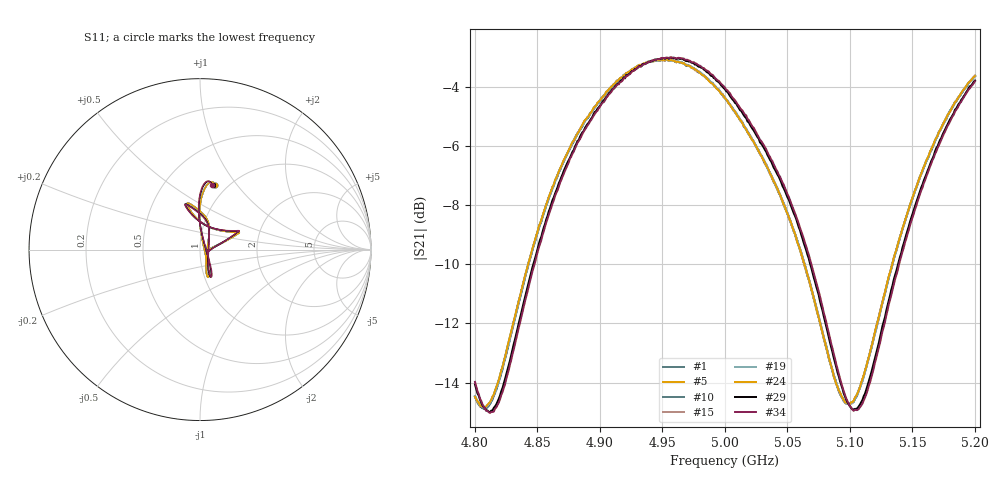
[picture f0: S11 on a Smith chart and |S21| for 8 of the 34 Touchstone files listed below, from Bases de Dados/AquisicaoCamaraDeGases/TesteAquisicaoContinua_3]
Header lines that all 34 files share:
! Network Analyzer HP8722D
! Hewlett-Packard
! Data name: Linha & Wilkinson
! Saver's name: Rodrigo Anjos
! Comments: Teste da utilização de aquisição
! continua pelo VNA HP8722D
!  Frequency  S11  S21  S12  S22
# HZ  S  MA R 50
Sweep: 4.8 GHz to 5.2 GHz
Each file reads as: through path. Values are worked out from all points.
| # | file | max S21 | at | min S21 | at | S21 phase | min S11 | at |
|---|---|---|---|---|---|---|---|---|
| 1 | teste_arseco&borbulhador_90Acetona_6.S2P | -3.07 dB | 4.953 GHz | -14.9 dB | 4.807 GHz | -92 deg at 5 GHz | -31.8 dB | 4.876 GHz |
| 2 | teste_arseco&borbulhador_90Acetona_7.S2P | -3.07 dB | 4.957 GHz | -14.9 dB | 4.808 GHz | -92 deg at 5 GHz | -31.7 dB | 4.876 GHz |
| 3 | teste_arseco&borbulhador_90Acetona_8.S2P | -3.08 dB | 4.953 GHz | -14.9 dB | 4.807 GHz | -92 deg at 5 GHz | -31.8 dB | 4.876 GHz |
| 4 | teste_arseco&borbulhador_90Acetona_9.S2P | -3.08 dB | 4.949 GHz | -14.9 dB | 4.808 GHz | -92 deg at 5 GHz | -31.9 dB | 4.876 GHz |
| 5 | teste_arseco&borbulhador_90Acetona_10.S2P | -3.07 dB | 4.957 GHz | -14.9 dB | 4.807 GHz | -92 deg at 5 GHz | -31.9 dB | 4.876 GHz |
| 6 | teste_arseco&borbulhador_90Acetona_11.S2P | -3.08 dB | 4.949 GHz | -14.9 dB | 4.808 GHz | -92 deg at 5 GHz | -31.7 dB | 4.877 GHz |
| 7 | teste_arseco&borbulhador_90Acetona_12.S2P | -3.07 dB | 4.951 GHz | -14.9 dB | 4.807 GHz | -92 deg at 5 GHz | -31.7 dB | 4.876 GHz |
| 8 | teste_arseco&borbulhador_90Acetona_13.S2P | -3.07 dB | 4.944 GHz | -14.9 dB | 4.807 GHz | -92 deg at 5 GHz | -31.6 dB | 4.876 GHz |
| 9 | teste_arseco&borbulhador_90Acetona_14.S2P | -3.07 dB | 4.951 GHz | -14.9 dB | 4.807 GHz | -92 deg at 5 GHz | -31.6 dB | 4.876 GHz |
| 10 | teste_arseco&borbulhador_90Acetona_15.S2P | -3.06 dB | 4.953 GHz | -14.9 dB | 4.806 GHz | -92 deg at 5 GHz | -31.6 dB | 4.876 GHz |
| 11 | teste_arseco&borbulhador_90Acetona_16.S2P | -3.07 dB | 4.953 GHz | -14.8 dB | 4.807 GHz | -92 deg at 5 GHz | -31.5 dB | 4.877 GHz |
| 12 | teste_arseco&borbulhador_90Acetona_17.S2P | -3.08 dB | 4.951 GHz | -14.8 dB | 4.807 GHz | -92 deg at 5 GHz | -31.7 dB | 4.876 GHz |
| 13 | teste_arseco&borbulhador_90Acetona_18.S2P | -3.07 dB | 4.949 GHz | -14.8 dB | 4.808 GHz | -92 deg at 5 GHz | -31.6 dB | 4.876 GHz |
| 14 | teste_arseco&borbulhador_90Acetona_19.S2P | -3.06 dB | 4.949 GHz | -14.8 dB | 4.807 GHz | -92 deg at 5 GHz | -31.7 dB | 4.876 GHz |
| 15 | teste_arseco&borbulhador_90Acetona_20.S2P | -3.08 dB | 4.953 GHz | -14.9 dB | 4.807 GHz | -92 deg at 5 GHz | -31.7 dB | 4.876 GHz |
| 16 | teste_arseco&borbulhador_90Acetona_21.S2P | -3.07 dB | 4.949 GHz | -14.8 dB | 4.807 GHz | -92 deg at 5 GHz | -31.5 dB | 4.876 GHz |
| 17 | teste_arseco&borbulhador_90Acetona_22.S2P | -3.07 dB | 4.953 GHz | -14.8 dB | 4.807 GHz | -92 deg at 5 GHz | -31.7 dB | 4.876 GHz |
| 18 | teste_arseco&borbulhador_90Acetona_23.S2P | -3.06 dB | 4.948 GHz | -14.8 dB | 4.808 GHz | -93 deg at 5 GHz | -31.7 dB | 4.876 GHz |
| 19 | teste_arseco&borbulhador_90Acetona_24.S2P | -3.06 dB | 4.949 GHz | -14.8 dB | 4.806 GHz | -92 deg at 5 GHz | -31.8 dB | 4.876 GHz |
| 20 | teste_arseco&borbulhador_90Acetona_25.S2P | -3.08 dB | 4.944 GHz | -14.8 dB | 4.806 GHz | -92 deg at 5 GHz | -31.7 dB | 4.876 GHz |
| 21 | teste_arseco&borbulhador_90Acetona_26.S2P | -3.06 dB | 4.949 GHz | -14.8 dB | 4.807 GHz | -92 deg at 5 GHz | -31.8 dB | 4.876 GHz |
| 22 | teste_arseco&borbulhador_90Acetona_27.S2P | -3.07 dB | 4.953 GHz | -14.8 dB | 4.807 GHz | -93 deg at 5 GHz | -31.8 dB | 4.876 GHz |
| 23 | teste_arseco&borbulhador_90Acetona_28.S2P | -3.07 dB | 4.953 GHz | -14.8 dB | 4.806 GHz | -92 deg at 5 GHz | -31.9 dB | 4.876 GHz |
| 24 | teste_arseco&borbulhador_90Acetona_29.S2P | -3.06 dB | 4.953 GHz | -14.8 dB | 4.808 GHz | -93 deg at 5 GHz | -31.7 dB | 4.876 GHz |
| 25 | teste_arseco&borbulhador_90Acetona_30.S2P | -3.07 dB | 4.949 GHz | -14.8 dB | 4.807 GHz | -93 deg at 5 GHz | -31.8 dB | 4.876 GHz |
| 26 | teste_arseco&borbulhador_90Acetona_31.S2P | -3.04 dB | 4.957 GHz | -14.9 dB | 4.809 GHz | -92 deg at 5 GHz | -31.1 dB | 4.877 GHz |
| 27 | teste_arseco&borbulhador_90Acetona_32.S2P | -3.01 dB | 4.957 GHz | -14.9 dB | 4.81 GHz | -91 deg at 5 GHz | -30.0 dB | 4.878 GHz |
| 28 | teste_arseco&borbulhador_90Acetona_33.S2P | -3.01 dB | 4.957 GHz | -15.0 dB | 4.811 GHz | -90 deg at 5 GHz | -29.7 dB | 4.878 GHz |
| 29 | teste_arseco&borbulhador_90Acetona_34.S2P | -3.00 dB | 4.956 GHz | -15.0 dB | 4.812 GHz | -90 deg at 5 GHz | -29.5 dB | 4.878 GHz |
| 30 | teste_arseco&borbulhador_90Acetona_35.S2P | -2.99 dB | 4.959 GHz | -15.0 dB | 4.811 GHz | -90 deg at 5 GHz | -29.5 dB | 4.878 GHz |
| 31 | teste_arseco&borbulhador_90Acetona_36.S2P | -3.01 dB | 4.959 GHz | -15.0 dB | 4.812 GHz | -90 deg at 5 GHz | -29.3 dB | 4.878 GHz |
| 32 | teste_arseco&borbulhador_90Acetona_37.S2P | -2.99 dB | 4.957 GHz | -15.0 dB | 4.812 GHz | -90 deg at 5 GHz | -29.3 dB | 4.878 GHz |
| 33 | teste_arseco&borbulhador_90Acetona_38.S2P | -2.99 dB | 4.959 GHz | -15.0 dB | 4.813 GHz | -90 deg at 5 GHz | -29.1 dB | 4.878 GHz |
| 34 | teste_arseco&borbulhador_90Acetona_39.S2P | -2.99 dB | 4.957 GHz | -15.0 dB | 4.812 GHz | -90 deg at 5 GHz | -29.1 dB | 4.878 GHz |
